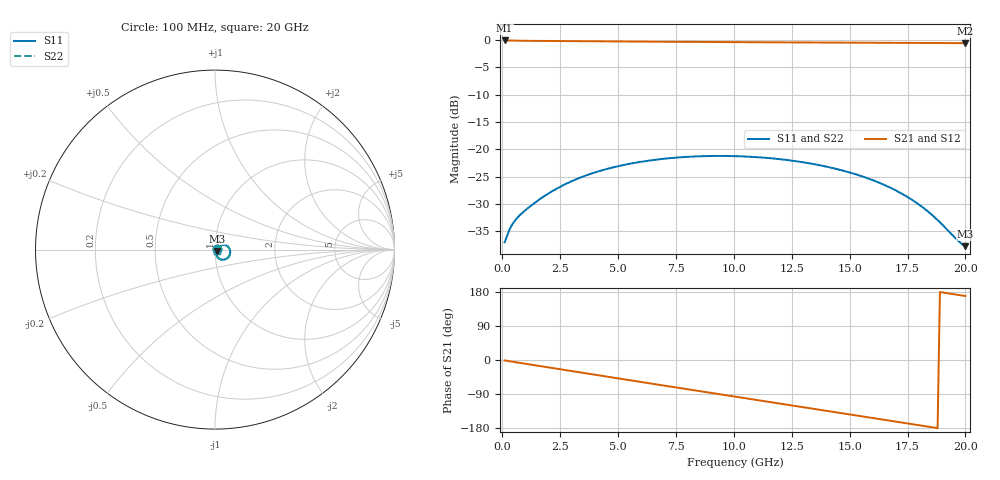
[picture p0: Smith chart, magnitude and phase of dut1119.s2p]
! Touchstone file exported from HFSS 2026.1.0
!  File:  C:/ffzhzh/LocalFiles/Ansys_Project_Files/temp_train_TSV_RDL_1119_1783306043_38704.aedt
!  Generated:  10:55:38 AM Jul  6, 2026
!  Design:  TSV_RDL
!  Project:  temp_train_TSV_RDL_1119_1783306043_38704
! Variables:
!  h_bsmrdl = 2.45um
!  h_ox = 20um
!  h_rdl = 5um
!  h_sub = 94.55um
!  h_tmrdl = 4.6um
!  h_tsv = 94.55um
!  h_via = 3um
!  l_bsmrdl = 399.55um
!  l_sub = 2981.89um
!  l_tmrdl = 310.38um
!  m_sub = 200um
!  pitch = 30.68um
!  r_tsv = 9.06um
!  s_tmrdl = 10um
!  w_bsmrdl = 21.67um
!  w_sub = 500um
!  w_tmrdl = 25.57um
!  x_tsv_center1 = 323.165um
!  x_tsv_center2 = 744.385um
!  x_tsv_center3 = 1080.335um
!  x_tsv_center4 = 1501.555um
!  x_tsv_center5 = 1837.505um
!  x_tsv_center6 = 2258.725um
# GHz S MA R 50.000000
! Terminal data exported
! Port[1] = TM_RDL1_1_T1
! Port[2] = TM_RDL5_1_T1
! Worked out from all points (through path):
!   200 points, 100 MHz to 20 GHz, reference 50 ohm
!   highest |S21| = -0.12 dB at 100 MHz (marker M1); lowest = -0.6 dB at 20 GHz (marker M2)
!   group delay of S21, straight-line fit = 26.5 ps
!   lowest |S11| = -37.7 dB at 20 GHz (marker M3), VSWR 1.03, Z = 51 - j0.844 ohm
!   |S11| at or under -10 dB: start of sweep to end of sweep
!   |S22| runs from -37.7 to -21.2 dB; largest |S21 - S12| = 5.4e-14
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0.1  0.01414 13.0  0.9863 -1.1  0.9863 -1.1  0.01414 13.0
! Gamma 0 0 0 0
! Port Impedance 50 0 50 0
0.3  0.01822 25.1  0.9839 -3.2  0.9839 -3.2  0.01822 25.1
0.5  0.0217 28.2  0.9817 -5.1  0.9817 -5.1  0.0217 28.2
1  0.02784 32.1  0.9788 -10.0  0.9788 -10.0  0.02783 32.1
2.2  0.04196 34.0  0.9751 -21.6  0.9751 -21.6  0.04196 34.0
3.5  0.05654 27.9  0.9708 -34.2  0.9708 -34.2  0.05655 27.9
5.2  0.07163 15.7  0.9651 -50.5  0.9651 -50.5  0.07164 15.7
6.8  0.08118 3.1  0.9602 -65.7  0.9602 -65.7  0.0812 3.0
7.7  0.08456 -4.2  0.9577 -74.3  0.9577 -74.3  0.08458 -4.2
8.5  0.08636 -10.7  0.9556 -81.9  0.9556 -81.9  0.08638 -10.8
9.3  0.08704 -17.2  0.9537 -89.5  0.9537 -89.5  0.08706 -17.3
10.1  0.0866 -23.7  0.9518 -97.1  0.9518 -97.1  0.08662 -23.8
10.9  0.08507 -30.2  0.9501 -104.7  0.9501 -104.7  0.0851 -30.2
11.7  0.08247 -36.6  0.9484 -112.3  0.9484 -112.3  0.0825 -36.6
13.4  0.0736 -49.7  0.945 -128.4  0.945 -128.4  0.07363 -49.8
15.1  0.06059 -61.9  0.9418 -144.6  0.9418 -144.6  0.06062 -61.9
16.7  0.04522 -71.2  0.9388 -159.8  0.9388 -159.8  0.04524 -71.3
17.5  0.03671 -74.0  0.9372 -167.4  0.9372 -167.4  0.03673 -74.1
18.2  0.02905 -74.3  0.9358 -174.1  0.9358 -174.1  0.02906 -74.4
18.8  0.02259 -71.1  0.9346 -179.8  0.9346 -179.8  0.02259 -71.2
19.7  0.01453 -52.1  0.9327 171.7  0.9327 171.7  0.01451 -52.3
20  0.01305 -39.4  0.9321 168.8  0.9321 168.8  0.01302 -39.5
